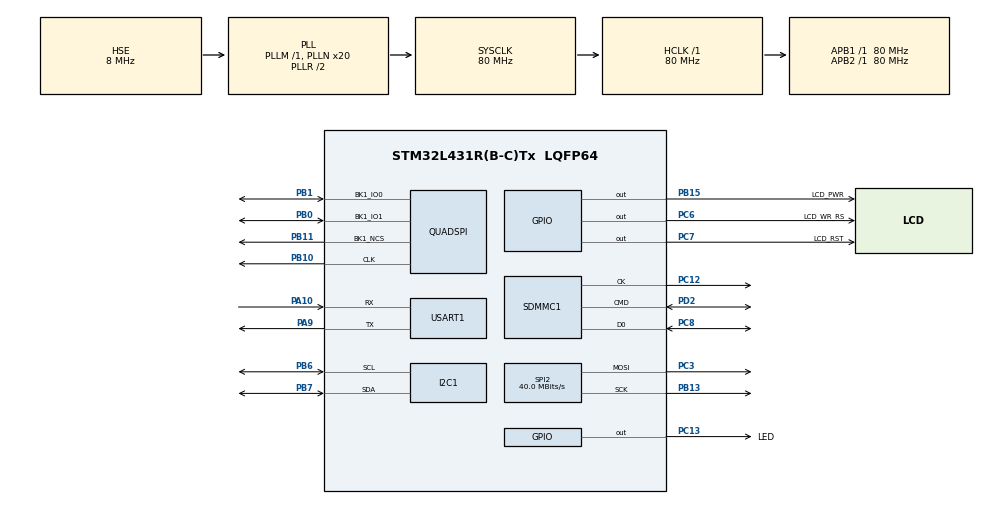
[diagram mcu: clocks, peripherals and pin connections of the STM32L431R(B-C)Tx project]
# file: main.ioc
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FATFS._CODE_PAGE=936
FATFS._MAX_SS=4096
FATFS._USE_LABEL=1
FATFS._USE_LFN=2
I2C1.Timing=0x10909CEC
Mcu.Family=STM32L4
Mcu.Name=STM32L431R(B-C)Tx
Mcu.Package=LQFP64
NVIC.PriorityGroup=NVIC_PRIORITYGROUP_4
NVIC.SDMMC1_IRQn=true\:0\:0\:false\:false\:true\:true\:true
PA10.Mode=Asynchronous
PA10.Signal=USART1_RX
PA9.Mode=Asynchronous
PA9.Signal=USART1_TX
PB0.Mode=Single Bank 1 2IOs
PB0.Signal=QUADSPI_BK1_IO1
PB1.Mode=Single Bank 1 2IOs
PB1.Signal=QUADSPI_BK1_IO0
PB10.Mode=Single Bank 1 2IOs
PB10.Signal=QUADSPI_CLK
PB11.Mode=Single Bank 1 2IOs
PB11.Signal=QUADSPI_BK1_NCS
PB13.Mode=TX_Only_Simplex_Unidirect_Master
PB13.Signal=SPI2_SCK
PB15.GPIO_Label=LCD_PWR
PB15.Signal=GPIO_Output
PB6.Mode=I2C
PB6.Signal=I2C1_SCL
PB7.Mode=I2C
PB7.Signal=I2C1_SDA
PC12.Mode=SD_1_bit
PC12.Signal=SDMMC1_CK
PC13.GPIO_Label=LED
PC13.Signal=GPIO_Output
PC3.Mode=TX_Only_Simplex_Unidirect_Master
PC3.Signal=SPI2_MOSI
PC6.GPIO_Label=LCD_WR_RS
PC6.GPIO_Speed=GPIO_SPEED_FREQ_VERY_HIGH
PC6.Signal=GPIO_Output
PC7.GPIO_Label=LCD_RST
PC7.GPIO_Speed=GPIO_SPEED_FREQ_VERY_HIGH
PC7.Signal=GPIO_Output
PC8.Mode=SD_1_bit
PC8.Signal=SDMMC1_D0
PD2.Mode=SD_1_bit
PD2.Signal=SDMMC1_CMD
PH0-OSC_IN\ (PH0).Mode=HSE-External-Oscillator
PH0-OSC_IN\ (PH0).Signal=RCC_OSC_IN
PH1-OSC_OUT\ (PH1).Mode=HSE-External-Oscillator
PH1-OSC_OUT\ (PH1).Signal=RCC_OSC_OUT
ProjectManager.HeapSize=0x1000
ProjectManager.StackSize=0x1200
ProjectManager.TargetToolchain=MDK-ARM V5
QUADSPI.ChipSelectHighTime=QSPI_CS_HIGH_TIME_4_CYCLE
QUADSPI.ClockPrescaler=0
QUADSPI.FifoThreshold=4
QUADSPI.FlashSize=22
RCC.ADCFreq_Value=32000000
RCC.AHBFreq_Value=80000000
RCC.APB1Freq_Value=80000000
RCC.APB1TimFreq_Value=80000000
RCC.APB2Freq_Value=80000000
RCC.APB2TimFreq_Value=80000000
RCC.CortexFreq_Value=80000000
RCC.HCLKFreq_Value=80000000
RCC.HSE_VALUE=8000000
RCC.HSI48_VALUE=48000000
RCC.HSI_VALUE=16000000
RCC.LSE_VALUE=32768
RCC.MSI_VALUE=4000000
RCC.PLLN=20
RCC.PLLSourceVirtual=RCC_PLLSOURCE_HSE
RCC.SYSCLKFreq_VALUE=80000000
RCC.SYSCLKSource=RCC_SYSCLKSOURCE_PLLCLK
RCC.VCOOutputFreq_Value=160000000
SDMMC1.ClockDiv=4
SPI2.CLKPhase=SPI_PHASE_2EDGE
SPI2.CLKPolarity=SPI_POLARITY_HIGH
SPI2.CalculateBaudRate=40.0 MBits/s
SPI2.DataSize=SPI_DATASIZE_8BIT
SPI2.Direction=SPI_DIRECTION_2LINES
SPI2.Mode=SPI_MODE_MASTER
SPI2.VirtualType=VM_MASTER
USART1.VirtualMode-Asynchronous=VM_ASYNC
VP_FATFS_VS_Generic.Mode=User_defined
VP_FATFS_VS_SDIO.Mode=SDIO
board=custom

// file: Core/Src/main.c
/* USER CODE BEGIN Header */
/**
  ******************************************************************************
  * @file           : main.c
  * @brief          : Main program body
  ******************************************************************************
  * @attention
  *
  * <h2><center>&copy; Copyright (c) 2021 STMicroelectronics.
  * All rights reserved.</center></h2>
  *
  * This software component is licensed by ST under BSD 3-Clause license,
  * the "License"; You may not use this file except in compliance with the
  * License. You may obtain a copy of the License at:
  *                        opensource.org/licenses/BSD-3-Clause
  *
  ******************************************************************************
  */
/* USER CODE END Header */
#include "main.h"
#include "fatfs.h"
#include "i2c.h"
#include "quadspi.h"
#include "sdmmc.h"
#include "spi.h"
#include "usart.h"
#include "gpio.h"

/* USER CODE BEGIN Includes */
#include "bsp_bmp.h"
#include "bsp_w25q64.h"
#include "lcd_spi2_drv.h"
/* USER CODE END Includes */

void SystemClock_Config(void);

/* USER CODE BEGIN 0 */
#define COPY_UNIT 4096
static BYTE read_buf[COPY_UNIT] = {0};      /* 读缓冲区 */
static UINT real_read_num;            					  /* 文件成功读写数量 */
static UINT real_write_num;            					  /* 文件成功读写数量 */

char newfn[255];

//SD卡源数据路径！！
char src_dir[255] = "0:/logo.bmp";

//要拷贝到的FLASH路径
char dst_dir[255] = "1:";

/**
  * @brief  复制文件
  * @param  src_path:源文件路径
  * @param  dst_path:文件将要复制到的目录(不含文件名)
  * @retval result:文件系统的返回值
  */
static int copy_file(char *src_path, char *dst_path)
{
    FRESULT res = FR_OK;
    char *sub_dir = NULL;

    res = f_open(&SDFile, src_path, FA_READ);

    if(FR_OK != res)
    {
        printf("打开SD卡Fatfs上的文件失败!\n");
        return -1 ;
    }

    //获取子文件路径
    sub_dir =  strrchr(src_path, '/');

    if(NULL == sub_dir)
    {
        printf("获取子文件路径失败!\n");
        return -2 ;
    }

    //拼接成新路径
    sprintf(newfn, "%s%s", dst_path, sub_dir);

    printf("正在复制文件 %s ...\n", newfn);
    res = f_open(&USERFile, newfn, FA_CREATE_ALWAYS | FA_WRITE | FA_READ);

    if(FR_OK != res)
    {
        printf("打开QSPI Fatfs上的文件失败!\n");
        return -3 ;
    }

    //拷贝文件
    while(res == FR_OK)
    {
        res = f_read(&SDFile, &read_buf, COPY_UNIT, &real_read_num);

        if(FR_OK != res)
        {
            printf("读取文件失败!\n");
            return -4 ;
        }

        res = f_write(&USERFile, &read_buf, real_read_num, &real_write_num);

        if(FR_OK != res)
        {
            printf("写文件失败!\n");
            return -5 ;
        }

        if(real_read_num != COPY_UNIT)
            break;
    }

    f_close(&SDFile);
    f_close(&USERFile);

    printf("复制成功！\n");

    return res;
}
/* USER CODE END 0 */

int main(void)
{

    /* MCU Configuration--------------------------------------------------------*/

    /* Reset of all peripherals, Initializes the Flash interface and the Systick. */
    HAL_Init();

    /* Configure the system clock */
    SystemClock_Config();

    /* Initialize all configured peripherals */
    MX_GPIO_Init();
    MX_I2C1_Init();
    MX_USART1_UART_Init();
    MX_QUADSPI_Init();
    MX_FATFS_Init();
    MX_SDMMC1_SD_Init();
    MX_SPI2_Init();
    /* USER CODE BEGIN 2 */
    LCD_Init();
    LCD_DisplayOnoff(1);
    LCD_Clear(WHITE);
    Mount_SD_Fatfs();
    Mount_QSPI_FLASH_Fatfs();
    //test_get_qspi_cap();
    //test_get_sd_card_cap();
    //test_sd_card_fatfs();
    //test_spi_flash_fatfs();
    copy_file(src_dir, dst_dir);
		Lcd_show_bmp(0,0,"1:/logo.bmp");
    /* USER CODE END 2 */

    /* Infinite loop */
    while (1)
    {

    }
}

void SystemClock_Config(void)
{
    RCC_OscInitTypeDef RCC_OscInitStruct = {0};
    RCC_ClkInitTypeDef RCC_ClkInitStruct = {0};
    RCC_PeriphCLKInitTypeDef PeriphClkInit = {0};

    /** Initializes the RCC Oscillators according to the specified parameters
    * in the RCC_OscInitTypeDef structure.
    */
    RCC_OscInitStruct.OscillatorType = RCC_OSCILLATORTYPE_HSE;
    RCC_OscInitStruct.HSEState = RCC_HSE_ON;
    RCC_OscInitStruct.PLL.PLLState = RCC_PLL_ON;
    RCC_OscInitStruct.PLL.PLLSource = RCC_PLLSOURCE_HSE;
    RCC_OscInitStruct.PLL.PLLM = 1;
    RCC_OscInitStruct.PLL.PLLN = 20;
    RCC_OscInitStruct.PLL.PLLP = RCC_PLLP_DIV7;
    RCC_OscInitStruct.PLL.PLLQ = RCC_PLLQ_DIV2;
    RCC_OscInitStruct.PLL.PLLR = RCC_PLLR_DIV2;

    if (HAL_RCC_OscConfig(&RCC_OscInitStruct) != HAL_OK)
    {
        Error_Handler();
    }

    /** Initializes the CPU, AHB and APB buses clocks
    */
    RCC_ClkInitStruct.ClockType = RCC_CLOCKTYPE_HCLK | RCC_CLOCKTYPE_SYSCLK
                                  | RCC_CLOCKTYPE_PCLK1 | RCC_CLOCKTYPE_PCLK2;
    RCC_ClkInitStruct.SYSCLKSource = RCC_SYSCLKSOURCE_PLLCLK;
    RCC_ClkInitStruct.AHBCLKDivider = RCC_SYSCLK_DIV1;
    RCC_ClkInitStruct.APB1CLKDivider = RCC_HCLK_DIV1;
    RCC_ClkInitStruct.APB2CLKDivider = RCC_HCLK_DIV1;

    if (HAL_RCC_ClockConfig(&RCC_ClkInitStruct, FLASH_LATENCY_4) != HAL_OK)
    {
        Error_Handler();
    }

    PeriphClkInit.PeriphClockSelection = RCC_PERIPHCLK_USART1 | RCC_PERIPHCLK_I2C1
                                         | RCC_PERIPHCLK_SDMMC1;
    PeriphClkInit.Usart1ClockSelection = RCC_USART1CLKSOURCE_PCLK2;
    PeriphClkInit.I2c1ClockSelection = RCC_I2C1CLKSOURCE_PCLK1;
    PeriphClkInit.Sdmmc1ClockSelection = RCC_SDMMC1CLKSOURCE_PLLSAI1;
    PeriphClkInit.PLLSAI1.PLLSAI1Source = RCC_PLLSOURCE_HSE;
    PeriphClkInit.PLLSAI1.PLLSAI1M = 1;
    PeriphClkInit.PLLSAI1.PLLSAI1N = 8;
    PeriphClkInit.PLLSAI1.PLLSAI1P = RCC_PLLP_DIV7;
    PeriphClkInit.PLLSAI1.PLLSAI1Q = RCC_PLLQ_DIV2;
    PeriphClkInit.PLLSAI1.PLLSAI1R = RCC_PLLR_DIV2;
    PeriphClkInit.PLLSAI1.PLLSAI1ClockOut = RCC_PLLSAI1_48M2CLK;

    if (HAL_RCCEx_PeriphCLKConfig(&PeriphClkInit) != HAL_OK)
    {
        Error_Handler();
    }

    /** Configure the main internal regulator output voltage
    */
    if (HAL_PWREx_ControlVoltageScaling(PWR_REGULATOR_VOLTAGE_SCALE1) != HAL_OK)
    {
        Error_Handler();
    }
}

void Error_Handler(void)
{
}

/************************ (C) COPYRIGHT STMicroelectronics *****END OF FILE****/
